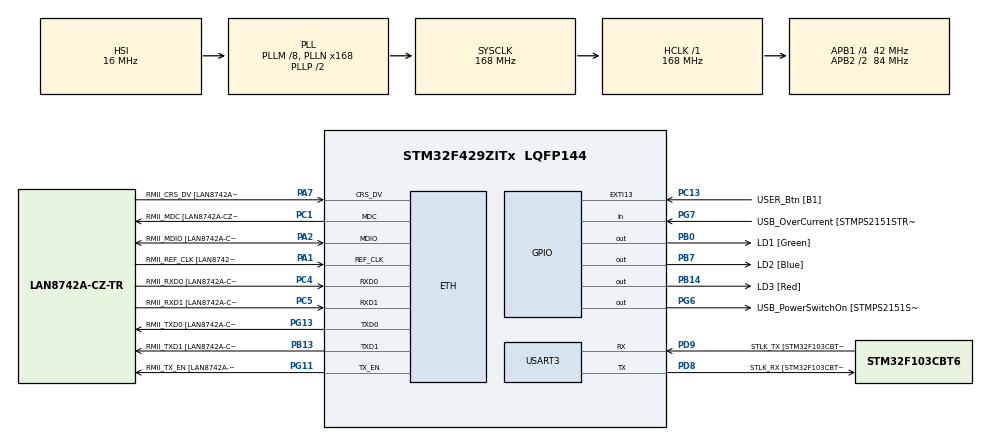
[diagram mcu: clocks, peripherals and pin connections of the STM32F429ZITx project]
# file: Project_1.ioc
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ETH.MediaInterface=HAL_ETH_RMII_MODE
ETH.PHY_Name=LAN8742A_PHY_ADDRESS
ETH.PHY_Value=0
ETH.PhyAddress=0
FREERTOS.Tasks01=defaultTask,24,128,StartDefaultTask,Default,NULL,Dynamic,NULL,NULL
Mcu.Family=STM32F4
Mcu.Name=STM32F429ZITx
Mcu.Package=LQFP144
NVIC.PriorityGroup=NVIC_PRIORITYGROUP_4
PA1.GPIO_Label=RMII_REF_CLK [LAN8742A-CZ-TR_REFCLK0]
PA1.Mode=RMII
PA1.Signal=ETH_REF_CLK
PA10.GPIO_Label=USB_ID
PA10.Signal=USB_OTG_FS_ID
PA11.GPIO_Label=USB_DM
PA11.Signal=USB_OTG_FS_DM
PA12.GPIO_Label=USB_DP
PA12.Signal=USB_OTG_FS_DP
PA13.GPIO_Label=TMS
PA13.Mode=Serial_Wire
PA13.Signal=SYS_JTMS-SWDIO
PA14.GPIO_Label=TCK
PA14.Mode=Serial_Wire
PA14.Signal=SYS_JTCK-SWCLK
PA2.GPIO_Label=RMII_MDIO [LAN8742A-CZ-TR_MDIO]
PA2.Mode=RMII
PA2.Signal=ETH_MDIO
PA7.GPIO_Label=RMII_CRS_DV [LAN8742A-CZ-TR_CRS_DV]
PA7.Mode=RMII
PA7.Signal=ETH_CRS_DV
PA8.GPIO_Label=USB_SOF [TP1]
PA8.Signal=USB_OTG_FS_SOF
PA9.GPIO_Label=USB_VBUS
PA9.Signal=USB_OTG_FS_VBUS
PB0.GPIO_Label=LD1 [Green]
PB0.Signal=GPIO_Output
PB13.GPIO_Label=RMII_TXD1 [LAN8742A-CZ-TR_TXD1]
PB13.Mode=RMII
PB13.Signal=ETH_TXD1
PB14.GPIO_Label=LD3 [Red]
PB14.Signal=GPIO_Output
PB7.GPIO_Label=LD2 [Blue]
PB7.Signal=GPIO_Output
PC1.GPIO_Label=RMII_MDC [LAN8742A-CZ-TR_MDC]
PC1.Mode=RMII
PC1.Signal=ETH_MDC
PC13.GPIO_Label=USER_Btn [B1]
PC13.Signal=GPXTI13
PC14/OSC32_IN.Mode=LSE-External-Oscillator
PC14/OSC32_IN.Signal=RCC_OSC32_IN
PC15/OSC32_OUT.Mode=LSE-External-Oscillator
PC15/OSC32_OUT.Signal=RCC_OSC32_OUT
PC4.GPIO_Label=RMII_RXD0 [LAN8742A-CZ-TR_RXD0]
PC4.Mode=RMII
PC4.Signal=ETH_RXD0
PC5.GPIO_Label=RMII_RXD1 [LAN8742A-CZ-TR_RXD1]
PC5.Mode=RMII
PC5.Signal=ETH_RXD1
PD8.GPIO_Label=STLK_RX [STM32F103CBT6_PA3]
PD8.Mode=Asynchronous
PD8.Signal=USART3_TX
PD9.GPIO_Label=STLK_TX [STM32F103CBT6_PA2]
PD9.Mode=Asynchronous
PD9.Signal=USART3_RX
PG11.GPIO_Label=RMII_TX_EN [LAN8742A-CZ-TR_TXEN]
PG11.Mode=RMII
PG11.Signal=ETH_TX_EN
PG13.GPIO_Label=RMII_TXD0 [LAN8742A-CZ-TR_TXD0]
PG13.Mode=RMII
PG13.Signal=ETH_TXD0
PG6.GPIO_Label=USB_PowerSwitchOn [STMPS2151STR_EN]
PG6.Signal=GPIO_Output
PG7.GPIO_Label=USB_OverCurrent [STMPS2151STR_FAULT]
PG7.Signal=GPIO_Input
PH0/OSC_IN.GPIO_Label=MCO [STM32F103CBT6_PA8]
PH0/OSC_IN.Mode=HSE-External-Clock-Source
PH0/OSC_IN.Signal=RCC_OSC_IN
PH1/OSC_OUT.Mode=HSE-External-Clock-Source
PH1/OSC_OUT.Signal=RCC_OSC_OUT
ProjectManager.HeapSize=0x200
ProjectManager.StackSize=0x400
ProjectManager.TargetToolchain=STM32CubeIDE
RCC.48MHZClocksFreq_Value=48000000
RCC.AHBFreq_Value=168000000
RCC.APB1CLKDivider=RCC_HCLK_DIV4
RCC.APB1Freq_Value=42000000
RCC.APB1TimFreq_Value=84000000
RCC.APB2CLKDivider=RCC_HCLK_DIV2
RCC.APB2Freq_Value=84000000
RCC.APB2TimCLKDivider=2
RCC.APB2TimFreq_Value=168000000
RCC.CortexFreq_Value=168000000
RCC.HCLKFreq_Value=168000000
RCC.HSE_VALUE=8000000
RCC.HSI_VALUE=16000000
RCC.PLLM=8
RCC.PLLMUL=RCC_PLL_MUL9
RCC.PLLN=168
RCC.PLLQ=7
RCC.PRESCALERUSB=RCC_USBCLKSOURCE_PLL_DIV1_5
RCC.SYSCLKFreq_VALUE=168000000
RCC.SYSCLKSource=RCC_SYSCLKSOURCE_PLLCLK
RCC.SYSCLKSourceVirtual=RCC_SYSCLKSOURCE_PLLCLK
RCC.USBFreq_Value=48000000
RCC.VCOOutputFreq_Value=336000000
USART3.VirtualMode=VM_ASYNC
VP_FREERTOS_VS_CMSIS_V2.Mode=CMSIS_V2
board=NUCLEO-F429ZI

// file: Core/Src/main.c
/* USER CODE BEGIN Header */
/**
  ******************************************************************************
  * @file           : main.c
  * @brief          : Main program body
  ******************************************************************************
  * @attention
  *
  * Copyright (c) 2026 STMicroelectronics.
  * All rights reserved.
  *
  * This software is licensed under terms that can be found in the LICENSE file
  * in the root directory of this software component.
  * If no LICENSE file comes with this software, it is provided AS-IS.
  *
  ******************************************************************************
  */
/* USER CODE END Header */
#include "main.h"
#include "string.h"
#include "cmsis_os.h"

/* USER CODE BEGIN Includes */
#include "can.h"
#include "detect.h"
#include "module_manager.h"
#include "module_a.h"
#include "module_b.h"
#include "uart_task.h"
#include "motor.h"
#include "warning.h"
#include "relay.h"
#include "power.h"
/* USER CODE END Includes */

ETH_TxPacketConfig TxConfig;
ETH_DMADescTypeDef  DMARxDscrTab[ETH_RX_DESC_CNT]; /* Ethernet Rx DMA Descriptors */
ETH_DMADescTypeDef  DMATxDscrTab[ETH_TX_DESC_CNT]; /* Ethernet Tx DMA Descriptors */

ETH_HandleTypeDef heth;

UART_HandleTypeDef huart3;

/* Definitions for defaultTask */
osThreadId_t defaultTaskHandle;
const osThreadAttr_t defaultTask_attributes = {
  .name = "defaultTask",
  .stack_size = 128 * 4,
  .priority = (osPriority_t) osPriorityNormal,
};

void SystemClock_Config(void);
static void MX_GPIO_Init(void);
static void MX_ETH_Init(void);
static void MX_USART3_UART_Init(void);
void StartDefaultTask(void *argument);

int main(void)
{

  /* MCU Configuration--------------------------------------------------------*/

  /* Reset of all peripherals, Initializes the Flash interface and the Systick. */
  HAL_Init();

  /* Configure the system clock */
  SystemClock_Config();

  /* Initialize all configured peripherals */
  MX_GPIO_Init();
  MX_ETH_Init();
  MX_USART3_UART_Init();
  /* USER CODE BEGIN 2 */
  CAN_Init();

  Detect_Init();

  Relay_Init();

  Motor_Init();

  ModuleManager_Init();
  ModuleA_Init();
  ModuleB_Init();

  Warning_Init();
  /* USER CODE END 2 */

  /* Init scheduler */
  osKernelInitialize();

  /* Create the thread(s) */
  /* creation of defaultTask */
  defaultTaskHandle = osThreadNew(StartDefaultTask, NULL, &defaultTask_attributes);

  /* USER CODE BEGIN RTOS_THREADS */
  /* add threads, ... */
  PowerMonitor_RtosInit();
  Warning_RtosInit();

  CAN_RtosInit();
  Detect_RtosInit();
  Relay_RtosInit();
  UARTTask_Init();
  Motor_RtosInit();

  /* USER CODE END RTOS_THREADS */

  /* USER CODE BEGIN RTOS_EVENTS */
  /* add events, ... */
  NVIC_SetPriority(I2C1_EV_IRQn, 5);
  NVIC_EnableIRQ(I2C1_EV_IRQn);

  NVIC_SetPriority(I2C1_ER_IRQn, 5);
  NVIC_EnableIRQ(I2C1_ER_IRQn);

  NVIC_SetPriority(USART3_IRQn, 6);
  NVIC_EnableIRQ(USART3_IRQn);
  /* USER CODE END RTOS_EVENTS */

  /* Start scheduler */
  osKernelStart();

  /* We should never get here as control is now taken by the scheduler */

  /* Infinite loop */
  while (1)
  {

  }
}

void SystemClock_Config(void)
{
  RCC_OscInitTypeDef RCC_OscInitStruct = {0};
  RCC_ClkInitTypeDef RCC_ClkInitStruct = {0};

  /** Configure the main internal regulator output voltage
  */
  __HAL_RCC_PWR_CLK_ENABLE();
  __HAL_PWR_VOLTAGESCALING_CONFIG(PWR_REGULATOR_VOLTAGE_SCALE1);

  /** Initializes the RCC Oscillators according to the specified parameters
  * in the RCC_OscInitTypeDef structure.
  */
  RCC_OscInitStruct.OscillatorType = RCC_OSCILLATORTYPE_HSI;
  RCC_OscInitStruct.HSIState = RCC_HSI_ON;
  RCC_OscInitStruct.HSICalibrationValue = RCC_HSICALIBRATION_DEFAULT;
  RCC_OscInitStruct.PLL.PLLState = RCC_PLL_ON;
  RCC_OscInitStruct.PLL.PLLSource = RCC_PLLSOURCE_HSI;
  RCC_OscInitStruct.PLL.PLLM = 8;
  RCC_OscInitStruct.PLL.PLLN = 168;
  RCC_OscInitStruct.PLL.PLLP = RCC_PLLP_DIV2;
  RCC_OscInitStruct.PLL.PLLQ = 7;
  if (HAL_RCC_OscConfig(&RCC_OscInitStruct) != HAL_OK)
  {
    Error_Handler();
  }

  /** Initializes the CPU, AHB and APB buses clocks
  */
  RCC_ClkInitStruct.ClockType = RCC_CLOCKTYPE_HCLK|RCC_CLOCKTYPE_SYSCLK
                              |RCC_CLOCKTYPE_PCLK1|RCC_CLOCKTYPE_PCLK2;
  RCC_ClkInitStruct.SYSCLKSource = RCC_SYSCLKSOURCE_PLLCLK;
  RCC_ClkInitStruct.AHBCLKDivider = RCC_SYSCLK_DIV1;
  RCC_ClkInitStruct.APB1CLKDivider = RCC_HCLK_DIV4;
  RCC_ClkInitStruct.APB2CLKDivider = RCC_HCLK_DIV2;

  if (HAL_RCC_ClockConfig(&RCC_ClkInitStruct, FLASH_LATENCY_5) != HAL_OK)
  {
    Error_Handler();
  }
}

static void MX_ETH_Init(void)
{

   static uint8_t MACAddr[6];

  heth.Instance = ETH;
  MACAddr[0] = 0x00;
  MACAddr[1] = 0x80;
  MACAddr[2] = 0xE1;
  MACAddr[3] = 0x00;
  MACAddr[4] = 0x00;
  MACAddr[5] = 0x00;
  heth.Init.MACAddr = &MACAddr[0];
  heth.Init.MediaInterface = HAL_ETH_RMII_MODE;
  heth.Init.TxDesc = DMATxDscrTab;
  heth.Init.RxDesc = DMARxDscrTab;
  heth.Init.RxBuffLen = 1524;

  if (HAL_ETH_Init(&heth) != HAL_OK)
  {
    Error_Handler();
  }

  memset(&TxConfig, 0 , sizeof(ETH_TxPacketConfig));
  TxConfig.Attributes = ETH_TX_PACKETS_FEATURES_CSUM | ETH_TX_PACKETS_FEATURES_CRCPAD;
  TxConfig.ChecksumCtrl = ETH_CHECKSUM_IPHDR_PAYLOAD_INSERT_PHDR_CALC;
  TxConfig.CRCPadCtrl = ETH_CRC_PAD_INSERT;

}

static void MX_USART3_UART_Init(void)
{

  huart3.Instance = USART3;
  huart3.Init.BaudRate = 115200;
  huart3.Init.WordLength = UART_WORDLENGTH_8B;
  huart3.Init.StopBits = UART_STOPBITS_1;
  huart3.Init.Parity = UART_PARITY_NONE;
  huart3.Init.Mode = UART_MODE_TX_RX;
  huart3.Init.HwFlowCtl = UART_HWCONTROL_NONE;
  huart3.Init.OverSampling = UART_OVERSAMPLING_16;
  if (HAL_UART_Init(&huart3) != HAL_OK)
  {
    Error_Handler();
  }

}

static void MX_GPIO_Init(void)
{
  GPIO_InitTypeDef GPIO_InitStruct = {0};

  /* GPIO Ports Clock Enable */
  __HAL_RCC_GPIOC_CLK_ENABLE();
  __HAL_RCC_GPIOH_CLK_ENABLE();
  __HAL_RCC_GPIOA_CLK_ENABLE();
  __HAL_RCC_GPIOB_CLK_ENABLE();
  __HAL_RCC_GPIOD_CLK_ENABLE();
  __HAL_RCC_GPIOG_CLK_ENABLE();

  /*Configure GPIO pin Output Level */
  HAL_GPIO_WritePin(GPIOB, LD1_Pin|LD3_Pin|LD2_Pin, GPIO_PIN_RESET);

  /*Configure GPIO pin Output Level */
  HAL_GPIO_WritePin(USB_PowerSwitchOn_GPIO_Port, USB_PowerSwitchOn_Pin, GPIO_PIN_RESET);

  /*Configure GPIO pin : USER_Btn_Pin */
  GPIO_InitStruct.Pin = USER_Btn_Pin;
  GPIO_InitStruct.Mode = GPIO_MODE_IT_RISING;
  GPIO_InitStruct.Pull = GPIO_NOPULL;
  HAL_GPIO_Init(USER_Btn_GPIO_Port, &GPIO_InitStruct);

  /*Configure GPIO pins : LD1_Pin LD3_Pin LD2_Pin */
  GPIO_InitStruct.Pin = LD1_Pin|LD3_Pin|LD2_Pin;
  GPIO_InitStruct.Mode = GPIO_MODE_OUTPUT_PP;
  GPIO_InitStruct.Pull = GPIO_NOPULL;
  GPIO_InitStruct.Speed = GPIO_SPEED_FREQ_LOW;
  HAL_GPIO_Init(GPIOB, &GPIO_InitStruct);

  /*Configure GPIO pin : USB_PowerSwitchOn_Pin */
  GPIO_InitStruct.Pin = USB_PowerSwitchOn_Pin;
  GPIO_InitStruct.Mode = GPIO_MODE_OUTPUT_PP;
  GPIO_InitStruct.Pull = GPIO_NOPULL;
  GPIO_InitStruct.Speed = GPIO_SPEED_FREQ_LOW;
  HAL_GPIO_Init(USB_PowerSwitchOn_GPIO_Port, &GPIO_InitStruct);

  /*Configure GPIO pin : USB_OverCurrent_Pin */
  GPIO_InitStruct.Pin = USB_OverCurrent_Pin;
  GPIO_InitStruct.Mode = GPIO_MODE_INPUT;
  GPIO_InitStruct.Pull = GPIO_NOPULL;
  HAL_GPIO_Init(USB_OverCurrent_GPIO_Port, &GPIO_InitStruct);

  /*Configure GPIO pins : USB_SOF_Pin USB_ID_Pin USB_DM_Pin USB_DP_Pin */
  GPIO_InitStruct.Pin = USB_SOF_Pin|USB_ID_Pin|USB_DM_Pin|USB_DP_Pin;
  GPIO_InitStruct.Mode = GPIO_MODE_AF_PP;
  GPIO_InitStruct.Pull = GPIO_NOPULL;
  GPIO_InitStruct.Speed = GPIO_SPEED_FREQ_VERY_HIGH;
  GPIO_InitStruct.Alternate = GPIO_AF10_OTG_FS;
  HAL_GPIO_Init(GPIOA, &GPIO_InitStruct);

  /*Configure GPIO pin : USB_VBUS_Pin */
  GPIO_InitStruct.Pin = USB_VBUS_Pin;
  GPIO_InitStruct.Mode = GPIO_MODE_INPUT;
  GPIO_InitStruct.Pull = GPIO_NOPULL;
  HAL_GPIO_Init(USB_VBUS_GPIO_Port, &GPIO_InitStruct);

}

void StartDefaultTask(void *argument)
{
  /* USER CODE BEGIN 5 */
  /* Infinite loop */
	for (;;)
	{
		osDelay(1000);
	}
  /* USER CODE END 5 */
}

void Error_Handler(void)
{
  __disable_irq();
  while (1)
  {
  }
}
